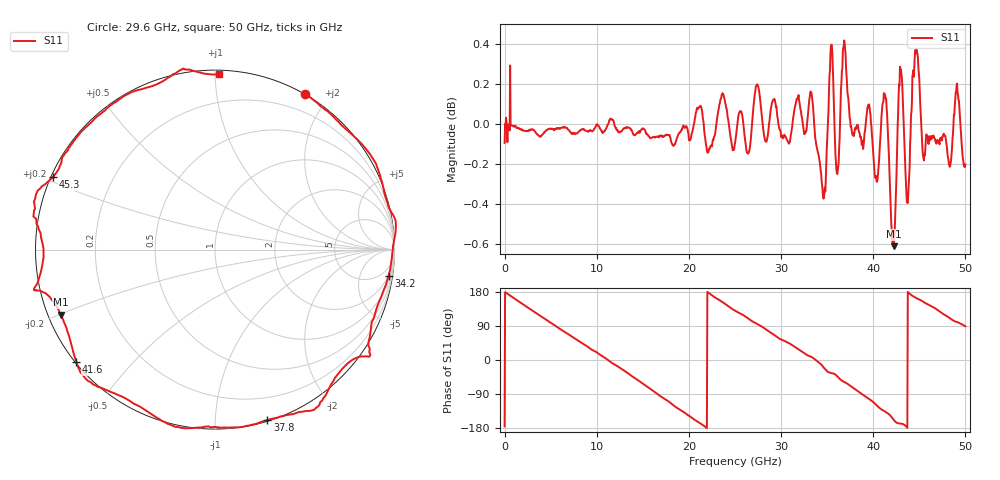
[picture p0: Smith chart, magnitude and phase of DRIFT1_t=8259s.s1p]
!Created with skrf (http://scikit-rf.org).
# Hz S RI R 50.0
!freq ReS11 ImS11
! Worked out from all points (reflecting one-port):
!   1001 points, 300 kHz to 50 GHz, reference 50 ohm
!   lowest |S11| = -0.6 dB at 42.2 GHz (marker M1), VSWR 28.41, Z = 1.83 - j10.1 ohm
!   phase of S11 starts at -175 deg and turns -816 deg over the sweep
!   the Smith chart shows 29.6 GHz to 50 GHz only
!   S11 on the Smith chart (normalised r, x): 29.6 GHz: -0.01, +1.74; 34.2 GHz: 2, -13; 37.8 GHz: 0.01, -1.35; 41.6 GHz: 0.00, -0.35; 45.3 GHz: 0.01, +0.21; 50 GHz: 0.02, +1.02
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300000  -0.9857 -0.0832
1.500291e9  -0.9056 0.4186
3.30028e9  -0.5806 0.8091
6.250262e9  0.2021 0.9773
9.500243e9  0.8916 0.4439
1.250022e10  0.9322 -0.3486
1.580021e10  0.2388 -0.9628
1.74002e10  -0.2231 -0.9679
1.875019e10  -0.5969 -0.793
2.150017e10  -0.9927 -0.1492
2.350016e10  -0.9216 0.4255
2.500015e10  -0.6359 0.7575
2.740014e10  -0.0962 1.019
2.960012e10  0.5041 0.8685
3.125011e10  0.7846 0.6212
3.31001e10  0.9999 0.1774
3.420009e10  0.9671 -0.147
3.520009e10  0.8608 -0.5469
3.750008e10  0.3773 -0.9289
3.780007e10  0.2916 -0.9498
3.955006e10  -0.2185 -0.9876
4.160005e10  -0.7728 -0.6261
4.220005e10  -0.8583 -0.3632
4.290004e10  -1.009 -0.2261
4.375004e10  -0.9555 0.00624
4.530003e10  -0.9015 0.4057
4.775001e10  -0.4835 0.8675
5e10  0.0196 0.9768
